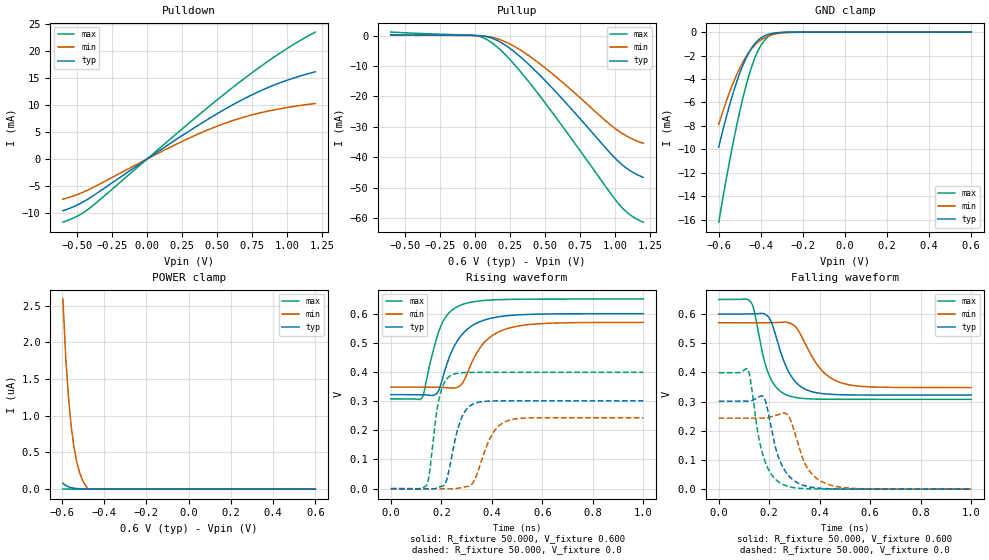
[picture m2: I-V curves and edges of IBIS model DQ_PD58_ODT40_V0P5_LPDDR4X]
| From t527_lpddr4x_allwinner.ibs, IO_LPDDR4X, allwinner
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|   Model DQ_PD58_ODT40_V0P5_LPDDR4X
[Model] DQ_PD58_ODT40_V0P5_LPDDR4X
Model_type I/O
Polarity   Non-Inverting
Enable   Active-Low
Vinl =  0.300V
Vinh =  0.300V
C_comp   1.507pF   1.466pF   1.562pF
C_comp_pulldown   0.769pF   0.741pF   0.805pF
[Model Spec]
Vinh   0.300V   0.285V   0.325V
Vinl   0.300V   0.285V   0.325V
[Temperature Range]   25.000   0.125k   -40.000
[Voltage Range]   0.600V   0.570V   0.650V
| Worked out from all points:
|   slope of the pulldown table from 0 to 0.09 V, typ, clamps not added: 56.9 ohm
|   slope of the pullup table from 0 to 0.09 V, typ, clamps not added: 198 ohm
|   GND clamp passes 1 mA (typ) near -0.43 V on its own axis
|   rising waveform, R_fixture 50.000, V_fixture 0.600: 20-80 % time 95.3ps typ, 102ps min, 69.7ps max; typ from 0.322 V to 0.6 V
|   rising waveform, R_fixture 50.000, V_fixture 0.0: 20-80 % time 49.4ps typ, 66.7ps min, 37.2ps max; typ from 0 V to 0.301 V
|   falling waveform, R_fixture 50.000, V_fixture 0.600: 20-80 % time 74.9ps typ, 98.6ps min, 59.6ps max; typ from 0.6 V to 0.322 V
|   falling waveform, R_fixture 50.000, V_fixture 0.0: 20-80 % time 63.5ps typ, 72ps min, 55.3ps max; typ from 0.301 V to 0 V
[Pulldown]
|Voltage   I(typ)   I(min)   I(max)
-600mV    -9.596mA   -7.443mA   -11.73mA
-486mV    -8.391mA   -6.479mA   -10.44mA
-391mV    -6.928mA   -5.363mA   -8.751mA
179mV     3.126mA    2.364mA    4.004mA
369mV     6.322mA    4.679mA    8.176mA
521mV     8.724mA    6.295mA    11.41mA
692mV     11.17mA    7.777mA    14.89mA
863mV     13.26mA    8.887mA    18.14mA
1.034V    14.93mA    9.701mA    21.08mA
1.2V      16.18mA    10.31mA    23.55mA
[Pullup]
|Voltage   I(typ)   I(min)   I(max)
-600mV    213.8uA    167.3uA    1.124mA
3mV       -3.94uA    -3.607uA   -19.46uA
60mV      -193.1uA   -141.5uA   -752.2uA
136mV     -1.136mA   -729.4uA   -2.911mA
193mV     -2.48mA    -1.6mA     -5.221mA
269mV     -4.918mA   -3.281mA   -8.89mA
440mV     -12mA      -8.5mA     -18.5mA
630mV     -21.19mA   -15.6mA    -30.21mA
934mV     -37.05mA   -28.12mA   -49.75mA
1.029V    -41.65mA   -31.53mA   -55.56mA
1.105V    -44.37mA   -33.6mA    -58.88mA
1.2V      -46.62mA   -35.42mA   -61.36mA
[GND_clamp]
|Voltage   I(typ)   I(min)   I(max)
-600mV    -9.815mA   -7.875mA   -16.22mA
-561mV    -7.046mA   -5.746mA   -12.23mA
-535mV    -5.403mA   -4.507mA   -9.766mA
-496mV    -3.316mA   -2.935mA   -6.457mA
-470mV    -2.216mA   -2.096mA   -4.569mA
-444mV    -1.371mA   -1.428mA   -2.993mA
-418mV    -778.9uA   -926.6uA   -1.774mA
-392mV    -406.1uA   -573.1uA   -928uA
-366mV    -197uA     -340uA     -421.7uA
-327mV    -60.99uA   -147uA     -102.9uA
-275mV    -11.95uA   -46.19uA   -12.78uA
600mV     -16.32nA   -580.9nA   -530.8pA
[POWER_clamp]
|Voltage   I(typ)   I(min)   I(max)
-596mV    80.11nA    2.59uA     2.718nA
-583mV    51.54nA    1.823uA    1.849nA
-570mV    33.02nA    1.267uA    1.347nA
-557mV    21.05nA    865.5nA    1.054nA
-544mV    13.37nA    578.4nA    882.1pA
-531mV    8.471nA    375.5nA    779.4pA
-518mV    5.383nA    233.4nA    714.2pA
-505mV    3.418nA    134nA      667.8pA
-492mV    2.102nA    63.17nA    630.5pA
-479mV    1.14nA     10.45nA    598.7pA
-466mV    372.9pA    0A         570.6pA
600mV     0A         0A         0A
[Ramp]
| variable   typ   min   max
dV/dt_r   0.181/49.402p   0.146/66.745p   0.239/37.374p
dV/dt_f   0.167/74.936p   0.133/98.651p   0.205/59.740p
R_load = 50.000
[Rising Waveform]
R_fixture= 50.000
V_fixture= 0.600
V_fixture_min= 0.570
V_fixture_max= 0.650
|time   V(typ)   V(min)   V(max)
0s        322.3mV    348.1mV    307.8mV
123ps     322.4mV    348.1mV    311.3mV
175ps     322mV      348.1mV    495.6mV
198ps     356.7mV    347.3mV    557.3mV
236ps     460mV      344.8mV    607.4mV
278ps     524.1mV    355.4mV    629.7mV
360ps     574.9mV    490.6mV    644.5mV
452ps     592.1mV    546.1mV    648.6mV
600ps     598.6mV    566mV      649.9mV
1ns       599.9mV    569.9mV    650mV
[Rising Waveform]
R_fixture= 50.000
V_fixture= 0.0
V_fixture_min= 0.0
V_fixture_max= 0.0
|time   V(typ)   V(min)   V(max)
0s        2.371uV    58.72uV    166.3nV
143ps     -475.1uV   142.1uV    12.83mV
193ps     5.855mV    205.5uV    315mV
218ps     21.81mV    -475.6uV   372mV
243ps     117.5mV    -838.2uV   390.4mV
272ps     223.7mV    2.337mV    396.7mV
306ps     277.8mV    7.768mV    398.4mV
401ps     300.5mV    185.5mV    398.9mV
460ps     301.1mV    232mV      398.9mV
1ns       301.2mV    243.2mV    398.9mV
[Falling Waveform]
R_fixture= 50.000
V_fixture= 0.600
V_fixture_min= 0.570
V_fixture_max= 0.650
|time   V(typ)   V(min)   V(max)
0s        600mV      570mV      650mV
128ps     600.3mV    569.9mV    639.9mV
197ps     589.9mV    570.6mV    396.1mV
229ps     516.6mV    570.9mV    347.7mV
271ps     412.1mV    571.5mV    322.2mV
307ps     365mV      553.6mV    313.8mV
343ps     342.4mV    497.8mV    310.2mV
405ps     328mV      410.3mV    308.3mV
478ps     323.7mV    366.5mV    307.9mV
1ns       322.3mV    348.2mV    307.8mV
[Falling Waveform]
R_fixture= 50.000
V_fixture= 0.0
V_fixture_min= 0.0
V_fixture_max= 0.0
|time   V(typ)   V(min)   V(max)
0s        301.2mV    243.2mV    398.9mV
116ps     301.6mV    243.2mV    409.1mV
155ps     313.8mV    243.6mV    194mV
177ps     316.6mV    243.4mV    111.7mV
228ps     132.9mV    253mV      30.88mV
254ps     75.69mV    260.5mV    16.07mV
283ps     40.64mV    239.9mV    7.764mV
351ps     9.412mV    72.72mV    1.406mV
425ps     1.93mV     18.84mV    220.4uV
1ns       2.385uV    59.3uV     168.3nV
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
